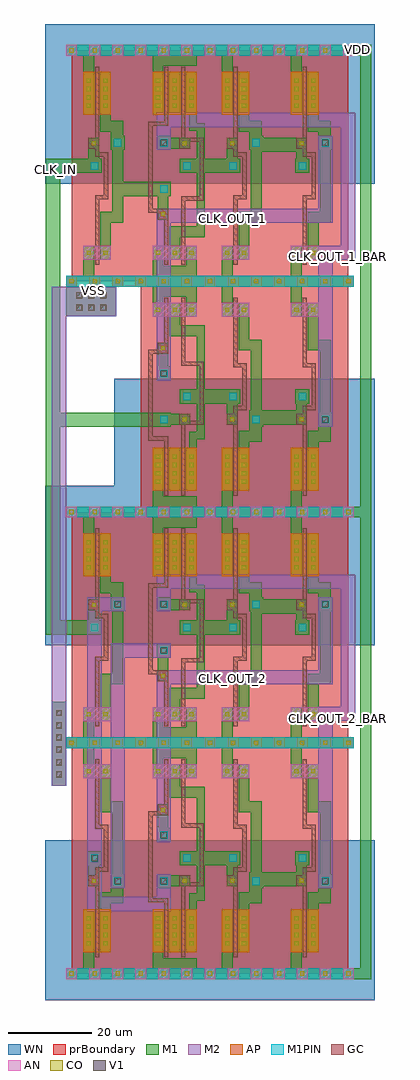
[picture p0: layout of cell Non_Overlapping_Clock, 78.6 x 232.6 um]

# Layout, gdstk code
import gdstk
lib = gdstk.Library(unit=1e-6, precision=1e-07)
def R(c, l, rs):  # rectangles x0, y0, x1, y1
    for r in rs: c.add(gdstk.rectangle(r[:2], r[2:], *l))
def A(c, l, x, y, w, h, nx, ny, dx, dy):  # array of equal rectangles
    R(c, l, [(x+i*dx, y+j*dy, x+i*dx+w, y+j*dy+h) for i in range(nx) for j in range(ny)])
def P(c, l, *ps):  # polygons
    for p in ps: c.add(gdstk.Polygon(p, *l))
AP = (3, 1)
AN = (3, 2)
GC = (8, 1)
CO = (11, 0)
M1 = (13, 0)
V1 = (19, 0)
M2 = (20, 0)
M1PIN = (48, 1)
WN = (140, 0)
prBoundary = (235, 0)

inv_x1 = lib.new_cell('INV_X1')
A(inv_x1, AP, -1.3, -1.3, 2.6, 2.6, 4, 1, 5.5, 0)
R(inv_x1, AP, [(2.8,39.7,9.4,49.9), (2.8,39.7,9.4,49.9)])
A(inv_x1, AN, -1.3, 53.7, 2.6, 2.6, 4, 1, 5.5, 0)
R(inv_x1, AN, [(2.8,5.1,9.4,8.5)])
P(inv_x1, GC, [(5.6,3.9),(5.6,20.5),(7.7,20.5),(7.7,29.7),(5.6,29.7),(5.6,31.6),(4,31.6),(4,34.2),(5.6,34.2),(5.6,51.1),(6.6,51.1),(6.6,30.7),(8.7,30.7),(8.7,19.5),(6.6,19.5),(6.6,3.9)])
A(inv_x1, CO, -0.5, -0.5, 1, 1, 4, 2, 5.5, 55)
A(inv_x1, CO, 3.6, 41.3, 1, 1, 1, 4, 0, 2)
A(inv_x1, CO, 7.6, 41.3, 1, 1, 1, 4, 0, 2)
R(inv_x1, CO, [(3.6,6.3,4.6,7.3), (7.6,6.3,8.6,7.3), (4.8,32.4,5.8,33.4)])
P(inv_x1, M1, [(-1.3,-1.3),(-1.3,1.3),(2.8,1.3),(2.8,8.5),(5.4,8.5),(5.4,1.3),(17.8,1.3),(17.8,-1.3)],
  [(3.8,25.8),(3.8,29.2),(4,29.2),(4,34.2),(6.6,34.2),(6.6,29.2),(7.2,29.2),(7.2,25.8)],
  [(6.8,5.1),(6.8,16.5),(9.7,16.5),(9.7,31.3),(9.3,31.3),(9.3,35.6),(6.8,35.6),(6.8,49.9),(9.4,49.9),(9.4,38.2),(12.3,38.2),(12.3,34.7),(12.7,34.7),(12.7,31.3),(12.3,31.3),(12.3,13.9),(9.4,13.9),(9.4,5.1)],
  [(2.8,39.7),(2.8,53.7),(-1.3,53.7),(-1.3,56.3),(17.8,56.3),(17.8,53.7),(5.4,53.7),(5.4,39.7)])
R(inv_x1, M1PIN, [(-1.3,-1.3,17.8,1.3), (4.6,26.6,6.4,28.4), (10.1,32.1,11.9,33.9), (-1.3,53.7,17.8,56.3)])
R(inv_x1, WN, [(-6.3,23.2,22.8,61.3)])
R(inv_x1, prBoundary, [(0,0,16.5,55)])
inv_x1.add(gdstk.Label('A', (5.5,27.5), layer=48, texttype=0))
inv_x1.add(gdstk.Label('vdd', (0,55), layer=48, texttype=0))
inv_x1.add(gdstk.Label('gnd', (0,0), layer=48, texttype=0))
inv_x1.add(gdstk.Label('Y', (11,33), layer=48, texttype=0))

nor2 = lib.new_cell('NOR2')
A(nor2, AP, -1.3, -1.3, 2.6, 2.6, 4, 1, 5.5, 0)
R(nor2, AP, [(2.8,39.7,13.4,49.9), (2.8,39.7,13.4,49.9)])
A(nor2, AN, -1.3, 53.7, 2.6, 2.6, 4, 1, 5.5, 0)
R(nor2, AN, [(2.8,5.1,13.4,8.5)])
P(nor2, GC, [(5.6,3.9),(5.6,14.7),(4,14.7),(4,16.3),(1.8,16.3),(1.8,38),(5.6,38),(5.6,51.1),(6.6,51.1),(6.6,37),(2.8,37),(2.8,17.3),(6.6,17.3),(6.6,3.9)],
  [(9.6,3.9),(9.6,20.2),(14,20.2),(14,33.2),(11.8,33.2),(11.8,31.6),(9.2,31.6),(9.2,34.2),(9.6,34.2),(9.6,51.1),(10.6,51.1),(10.6,34.2),(15,34.2),(15,19.2),(10.6,19.2),(10.6,3.9)])
A(nor2, CO, -0.5, -0.5, 1, 1, 4, 2, 5.5, 55)
A(nor2, CO, 11.6, 41.3, 1, 1, 1, 4, 0, 2)
R(nor2, CO, [(3.6,6.3,4.6,7.3), (7.6,6.3,8.6,7.3), (7.6,6.3,8.6,7.3), (11.6,6.3,12.6,7.3), (4.8,15.5,5.8,16.5), (10,32.4,11,33.4), (3.6,41.3,4.6,42.3), (3.6,41.3,4.6,42.3), (3.6,41.3,4.6,42.3), (7.6,41.3,8.6,42.3), (7.6,41.3,8.6,42.3), (7.6,41.3,8.6,42.3), (7.6,41.3,8.6,42.3), (3.6,43.3,4.6,44.3), (3.6,43.3,4.6,44.3), (3.6,43.3,4.6,44.3), (7.6,43.3,8.6,44.3), (7.6,43.3,8.6,44.3), (7.6,43.3,8.6,44.3), (7.6,43.3,8.6,44.3), (3.6,45.3,4.6,46.3), (3.6,45.3,4.6,46.3), (3.6,45.3,4.6,46.3), (7.6,45.3,8.6,46.3), (7.6,45.3,8.6,46.3), (7.6,45.3,8.6,46.3), (7.6,45.3,8.6,46.3), (3.6,47.3,4.6,48.3), (3.6,47.3,4.6,48.3), (3.6,47.3,4.6,48.3), (7.6,47.3,8.6,48.3), (7.6,47.3,8.6,48.3), (7.6,47.3,8.6,48.3), (7.6,47.3,8.6,48.3)])
R(nor2, M1, [(6.8,39.7,9.4,49.9)])
P(nor2, M1, [(-1.3,-1.3),(-1.3,1.3),(2.8,1.3),(2.8,8.5),(5.4,8.5),(5.4,3.7),(10.8,3.7),(10.8,8.5),(13.4,8.5),(13.4,1.3),(17.8,1.3),(17.8,-1.3)],
  [(4,14.7),(4,20.3),(3.8,20.3),(3.8,23.7),(7.2,23.7),(7.2,20.3),(6.6,20.3),(6.6,14.7)],
  [(3.8,31.3),(3.8,34.7),(7.2,34.7),(7.2,34.2),(11.8,34.2),(11.8,31.6),(7.2,31.6),(7.2,31.3)],
  [(6.8,5.1),(6.8,13.1),(13.4,13.1),(13.4,25.8),(9.3,25.8),(9.3,29.2),(13.4,29.2),(13.4,35.9),(11.6,35.9),(11.6,39.7),(10.8,39.7),(10.8,49.9),(13.4,49.9),(13.4,37.7),(15.2,37.7),(15.2,10.5),(9.4,10.5),(9.4,5.1)],
  [(2.8,39.7),(2.8,53.7),(-1.3,53.7),(-1.3,56.3),(17.8,56.3),(17.8,53.7),(13.4,53.7),(13.4,51.3),(5.4,51.3),(5.4,39.7)])
R(nor2, M1PIN, [(-1.3,-1.3,17.8,1.3), (4.6,21.1,6.4,22.9), (10.1,26.6,11.9,28.4), (4.6,32.1,6.4,33.9), (-1.3,53.7,17.8,56.3)])
R(nor2, WN, [(-6.3,23.2,22.8,61.3)])
R(nor2, prBoundary, [(0,0,16.5,55)])
nor2.add(gdstk.Label('A', (5.5,22), layer=48, texttype=0))
nor2.add(gdstk.Label('B', (5.5,33), layer=48, texttype=0))
nor2.add(gdstk.Label('Y', (11,27.5), layer=48, texttype=0))
nor2.add(gdstk.Label('vdd', (0,55), layer=48, texttype=0))

via_1 = lib.new_cell('via_1')
R(via_1, M1, [(-1.7,-1.7,1.7,1.7)])
R(via_1, V1, [(-0.7,-0.7,0.7,0.7)])
R(via_1, M2, [(-1.7,-1.7,1.7,1.7)])

via_1_3 = lib.new_cell('via_1$3')
R(via_1_3, M1, [(-6,-3.5,6,3.5)])
A(via_1_3, V1, -3.6, -2.2, 1.4, 1.4, 3, 2, 2.9, 3)
R(via_1_3, M2, [(-6,-3.5,6,3.5)])

via_1_1 = lib.new_cell('via_1$1')
R(via_1_1, M1, [(-1.7,-10,1.7,10)])
A(via_1_1, V1, -0.7, -8, 1.4, 1.4, 1, 3, 0, 2.9)
A(via_1_1, V1, -0.7, 0.8, 1.4, 1.4, 1, 3, 0, 2.9)
R(via_1_1, M2, [(-1.7,-10,1.7,10)])

non_overlapping_clock = lib.new_cell('Non_Overlapping_Clock')
non_overlapping_clock.add(gdstk.FlexPath([(56.1,32.5),(43.3,32.5)], 3.4, ends="flush", simple_path=True, layer=13, datatype=0))  # M1
non_overlapping_clock.add(gdstk.FlexPath([(25.8,27.5),(40.2,27.5)], 3.4, ends="flush", simple_path=True, layer=13, datatype=0))  # M1
non_overlapping_clock.add(gdstk.FlexPath([(9.7,22),(23.7,22)], 3.4, ends="flush", simple_path=True, layer=13, datatype=0))  # M1
non_overlapping_clock.add(gdstk.FlexPath([(25.8,-27.5),(40.2,-27.5)], 3.4, ends="flush", simple_path=True, layer=13, datatype=0))  # M1
non_overlapping_clock.add(gdstk.FlexPath([(42.3,-32.5),(56.1,-32.5)], 3.4, ends="flush", simple_path=True, layer=13, datatype=0))  # M1
non_overlapping_clock.add(gdstk.FlexPath([(7.2,27.5),(-4.4,27.5),(-4.4,-33),(23.6,-33)], 3.4, ends="flush", simple_path=True, layer=13, datatype=0))  # M1
non_overlapping_clock.add(gdstk.FlexPath([(56.1,-77.5),(43.3,-77.5)], 3.4, ends="flush", simple_path=True, layer=13, datatype=0))  # M1
non_overlapping_clock.add(gdstk.FlexPath([(25.8,-82.5),(40.2,-82.5)], 3.4, ends="flush", simple_path=True, layer=13, datatype=0))  # M1
non_overlapping_clock.add(gdstk.FlexPath([(66,55),(70.1,55),(70.1,-55),(66.6,-55)], 2.6, ends="flush", simple_path=True, layer=13, datatype=0))  # M1
non_overlapping_clock.add(gdstk.FlexPath([(25.8,-137.5),(40.2,-137.5)], 3.4, ends="flush", simple_path=True, layer=13, datatype=0))  # M1
non_overlapping_clock.add(gdstk.FlexPath([(42.3,-142.5),(56.1,-142.5)], 3.4, ends="flush", simple_path=True, layer=13, datatype=0))  # M1
non_overlapping_clock.add(gdstk.FlexPath([(-4.4,-33),(-4.4,-82.5),(7.2,-82.5)], 3.4, ends="flush", simple_path=True, layer=13, datatype=0))  # M1
non_overlapping_clock.add(gdstk.FlexPath([(70.1,-55),(70.1,-165),(66.5,-165)], 2.6, ends="flush", simple_path=True, layer=13, datatype=0))  # M1
non_overlapping_clock.add(gdstk.FlexPath([(22,-23.7),(22,15.6),(60.5,15.6),(60.5,34.3)], 3.4, ends="flush", simple_path=True, layer=20, datatype=0))  # M2
non_overlapping_clock.add(gdstk.FlexPath([(60.5,-34.7),(60.5,6.8),(65.9,6.8),(65.9,38.4),(22,38.4),(22,31.7)], 3.4, ends="flush", simple_path=True, layer=20, datatype=0))  # M2
non_overlapping_clock.add(gdstk.FlexPath([(22,-133.7),(22,-94.4),(60.5,-94.4),(60.5,-75.7)], 3.4, ends="flush", simple_path=True, layer=20, datatype=0))  # M2
non_overlapping_clock.add(gdstk.FlexPath([(60.5,-144.7),(60.5,-103.1),(65.9,-103.1),(65.9,-71.6),(22,-71.6),(22,-78.3)], 3.4, ends="flush", simple_path=True, layer=20, datatype=0))  # M2
non_overlapping_clock.add(gdstk.FlexPath([(12.8,-77),(5.5,-77),(5.5,-139.2)], 3.4, ends="flush", simple_path=True, layer=20, datatype=0))  # M2
non_overlapping_clock.add(gdstk.FlexPath([(11,-144.7),(11,-88),(23.7,-88)], 3.4, ends="flush", simple_path=True, layer=20, datatype=0))  # M2
non_overlapping_clock.add(gdstk.FlexPath([(5.5,-135.8),(5.5,-148.4),(22,-148.4),(22,-141.3)], 3.4, ends="flush", simple_path=True, layer=20, datatype=0))  # M2
non_overlapping_clock.add(gdstk.FlexPath([(-3,-108.8),(-3,-1.3)], 3.4, ends="flush", simple_path=True, layer=20, datatype=0))  # M2
non_overlapping_clock.add(gdstk.Reference(inv_x1, (0,0)))
non_overlapping_clock.add(gdstk.Reference(nor2, (16.5,0)))
non_overlapping_clock.add(gdstk.Reference(inv_x1, (33,0)))
non_overlapping_clock.add(gdstk.Reference(inv_x1, (49.5,0)))
non_overlapping_clock.add(gdstk.Reference(inv_x1, (0,-110), x_reflection=True))
non_overlapping_clock.add(gdstk.Reference(inv_x1, (33,0), x_reflection=True))
non_overlapping_clock.add(gdstk.Reference(inv_x1, (49.5,0), x_reflection=True))
non_overlapping_clock.add(gdstk.Reference(nor2, (16.5,0), x_reflection=True))
non_overlapping_clock.add(gdstk.Reference(via_1, (22,33)))
non_overlapping_clock.add(gdstk.Reference(via_1, (60.5,33)))
non_overlapping_clock.add(gdstk.Reference(via_1, (22,-22)))
non_overlapping_clock.add(gdstk.Reference(via_1, (60.5,-33)))
non_overlapping_clock.add(gdstk.Reference(inv_x1, (0,-110)))
non_overlapping_clock.add(gdstk.Reference(nor2, (16.5,-110)))
non_overlapping_clock.add(gdstk.Reference(inv_x1, (33,-110)))
non_overlapping_clock.add(gdstk.Reference(inv_x1, (49.5,-110)))
non_overlapping_clock.add(gdstk.Reference(inv_x1, (33,-110), x_reflection=True))
non_overlapping_clock.add(gdstk.Reference(inv_x1, (49.5,-110), x_reflection=True))
non_overlapping_clock.add(gdstk.Reference(nor2, (16.5,-110), x_reflection=True))
non_overlapping_clock.add(gdstk.Reference(via_1, (22,-77)))
non_overlapping_clock.add(gdstk.Reference(via_1, (60.5,-77)))
non_overlapping_clock.add(gdstk.Reference(via_1, (22,-132)))
non_overlapping_clock.add(gdstk.Reference(via_1, (60.5,-143)))
non_overlapping_clock.add(gdstk.Reference(via_1, (11,-77)))
non_overlapping_clock.add(gdstk.Reference(via_1, (5.5,-137.5)))
non_overlapping_clock.add(gdstk.Reference(via_1, (11,-143)))
non_overlapping_clock.add(gdstk.Reference(via_1, (22,-88)))
non_overlapping_clock.add(gdstk.Reference(via_1, (22,-143)))
non_overlapping_clock.add(gdstk.Reference(via_1_3, (4.7,-4.8)))
non_overlapping_clock.add(gdstk.Reference(via_1_1, (-3,-110.2)))
non_overlapping_clock.add(gdstk.Label('CLK_IN', (-3.9,26.7), layer=48, texttype=0))
non_overlapping_clock.add(gdstk.Label('VDD', (68.1,55.3), layer=48, texttype=0))
non_overlapping_clock.add(gdstk.Label('CLK_OUT_1_BAR', (63.4,6), layer=49, texttype=0))
non_overlapping_clock.add(gdstk.Label('CLK_OUT_1', (38.3,15), layer=49, texttype=0))
non_overlapping_clock.add(gdstk.Label('CLK_OUT_2_BAR', (63.4,-104.1), layer=49, texttype=0))
non_overlapping_clock.add(gdstk.Label('CLK_OUT_2', (38.3,-94.7), layer=49, texttype=0))
non_overlapping_clock.add(gdstk.Label('VSS', (5.3,-2.2), layer=49, texttype=0))

lib.write_gds('Non_Overlapping_Clock.gds')
